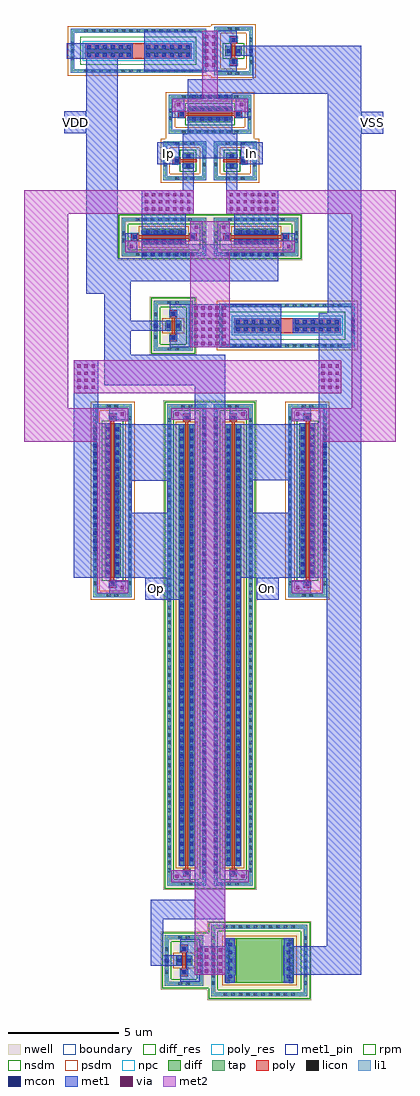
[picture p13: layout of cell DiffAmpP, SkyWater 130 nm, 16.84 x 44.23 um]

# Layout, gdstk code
from math import pi, radians
import gdstk
lib = gdstk.Library(unit=1e-6, precision=1e-09)
def R(c, l, rs):  # rectangles x0, y0, x1, y1
    for r in rs: c.add(gdstk.rectangle(r[:2], r[2:], *l))
def A(c, l, x, y, w, h, nx, ny, dx, dy):  # array of equal rectangles
    R(c, l, [(x+i*dx, y+j*dy, x+i*dx+w, y+j*dy+h) for i in range(nx) for j in range(ny)])
nwell = (64, 20)
diff_res = (65, 13)
diff = (65, 20)
tap = (65, 44)
poly_res = (66, 13)
poly = (66, 20)
licon = (66, 44)
li1 = (67, 20)
mcon = (67, 44)
met1_pin = (68, 16)
met1 = (68, 20)
via = (68, 44)
met2 = (69, 20)
rpm = (86, 20)
nsdm = (93, 44)
psdm = (94, 20)
npc = (95, 20)
boundary = (235, 4)

sky130_fd_pr__res_generi = lib.new_cell('sky130_fd_pr__res_generic_pd_VU5H9V')
R(sky130_fd_pr__res_generi, nwell, [(-1.79,-2.355,1.79,2.355)])
R(sky130_fd_pr__res_generi, diff_res, [(-1,-1.05,1,1.05)])
R(sky130_fd_pr__res_generi, diff, [(-1,-1.565,1,1.565)])
R(sky130_fd_pr__res_generi, tap, [(-1.61,-2.175,1.61,-2.005), (-1.61,-2.005,-1.44,2.005), (1.44,-2.005,1.61,2.005), (-1.61,2.005,1.61,2.175)])
A(sky130_fd_pr__res_generi, licon, -1.105, -2.175, 0.17, 0.17, 7, 2, 0.34, 4.18)
A(sky130_fd_pr__res_generi, licon, -1.61, -1.615, 0.17, 0.17, 1, 10, 0, 0.34)
A(sky130_fd_pr__res_generi, licon, 1.44, -1.615, 0.17, 0.17, 1, 10, 0, 0.34)
A(sky130_fd_pr__res_generi, licon, -0.935, -1.505, 0.17, 0.17, 6, 2, 0.34, 2.84)
R(sky130_fd_pr__res_generi, li1, [(-1.61,-2.175,1.61,-2.005), (-1.61,-2.005,-1.44,2.005), (1.44,-2.005,1.61,2.005), (-1.02,-1.505,1.02,-1.335), (-0.94,-1.335,0.94,-1.135), (-0.94,1.135,0.94,1.335), (-1.02,1.335,1.02,1.505), (-1.61,2.005,1.61,2.175)])
A(sky130_fd_pr__res_generi, mcon, -0.805, -1.405, 0.17, 0.17, 5, 2, 0.36, 2.64)
R(sky130_fd_pr__res_generi, met1, [(-1,-1.535,1,-1.105), (-1,1.105,1,1.535)])
R(sky130_fd_pr__res_generi, nsdm, [(-1.735,-2.3,1.735,-1.88), (-1.735,-1.88,-1.315,1.88), (1.315,-1.88,1.735,1.88), (-1.735,1.88,1.735,2.3)])
R(sky130_fd_pr__res_generi, psdm, [(-1.125,-1.69,1.125,1.69)])
R(sky130_fd_pr__res_generi, boundary, [(-1.525,-2.09,1.525,2.09)])

sky130_fd_pr__pfet_01v8_ = lib.new_cell('sky130_fd_pr__pfet_01v8_SNMNDE')
R(sky130_fd_pr__pfet_01v8_, nwell, [(-1.055,-1.32,1.055,1.32)])
R(sky130_fd_pr__pfet_01v8_, diff, [(-0.365,-0.225,0.365,0.225)])
R(sky130_fd_pr__pfet_01v8_, tap, [(-0.875,-1.14,0.875,-0.97), (-0.875,-0.97,-0.705,0.97), (0.705,-0.97,0.875,0.97), (-0.875,0.97,0.875,1.14)])
R(sky130_fd_pr__pfet_01v8_, poly, [(-0.165,-0.71,0.165,-0.38), (-0.075,-0.38,0.075,0.38), (-0.165,0.38,0.165,0.71)])
A(sky130_fd_pr__pfet_01v8_, licon, -0.875, -0.595, 0.17, 0.17, 1, 4, 0, 0.34)
A(sky130_fd_pr__pfet_01v8_, licon, 0.705, -0.595, 0.17, 0.17, 1, 4, 0, 0.34)
R(sky130_fd_pr__pfet_01v8_, licon, [(-0.255,-1.14,-0.085,-0.97), (0.085,-1.14,0.255,-0.97), (-0.085,-0.63,0.085,-0.46), (-0.305,-0.085,-0.135,0.085), (0.135,-0.085,0.305,0.085), (-0.085,0.46,0.085,0.63), (-0.255,0.97,-0.085,1.14), (0.085,0.97,0.255,1.14)])
R(sky130_fd_pr__pfet_01v8_, li1, [(-0.875,-1.14,0.875,-0.97), (-0.875,-0.97,-0.705,0.97), (0.705,-0.97,0.875,0.97), (-0.165,-0.63,0.165,-0.46), (-0.305,-0.245,-0.135,0.245), (0.135,-0.245,0.305,0.245), (-0.165,0.46,0.165,0.63), (-0.875,0.97,0.875,1.14)])
R(sky130_fd_pr__pfet_01v8_, mcon, [(-0.085,-0.63,0.085,-0.46), (-0.305,-0.085,-0.135,0.085), (0.135,-0.085,0.305,0.085), (-0.085,0.46,0.085,0.63)])
R(sky130_fd_pr__pfet_01v8_, met1, [(-0.145,-0.66,0.145,-0.43), (-0.335,-0.225,-0.105,0.225), (0.105,-0.225,0.335,0.225), (-0.145,0.43,0.145,0.66)])
R(sky130_fd_pr__pfet_01v8_, nsdm, [(-1,-1.265,1,-0.845), (-1,-0.845,-0.58,0.845), (0.58,-0.845,1,0.845), (-1,0.845,1,1.265)])
R(sky130_fd_pr__pfet_01v8_, psdm, [(-0.49,-0.35,0.49,0.35)])
R(sky130_fd_pr__pfet_01v8_, npc, [(-0.185,-0.73,0.185,-0.36), (-0.185,0.36,0.185,0.73)])
R(sky130_fd_pr__pfet_01v8_, boundary, [(-0.79,-1.055,0.79,1.055)])

sky130_fd_pr__nfet_01v8_ = lib.new_cell('sky130_fd_pr__nfet_01v8_PHHW37')
R(sky130_fd_pr__nfet_01v8_, diff, [(-0.365,-3.5,0.365,3.5)])
R(sky130_fd_pr__nfet_01v8_, tap, [(-0.875,-4.37,0.875,-4.2), (-0.875,-4.2,-0.705,4.2), (0.705,-4.2,0.875,4.2), (-0.875,4.2,0.875,4.37)])
R(sky130_fd_pr__nfet_01v8_, poly, [(-0.165,-3.94,0.165,-3.61), (-0.075,-3.61,0.075,3.61), (-0.165,3.61,0.165,3.94)])
A(sky130_fd_pr__nfet_01v8_, licon, -0.875, -3.825, 0.17, 0.17, 1, 23, 0, 0.34)
A(sky130_fd_pr__nfet_01v8_, licon, 0.705, -3.825, 0.17, 0.17, 1, 23, 0, 0.34)
A(sky130_fd_pr__nfet_01v8_, licon, -0.305, -3.315, 0.17, 0.17, 1, 20, 0, 0.34)
A(sky130_fd_pr__nfet_01v8_, licon, 0.135, -3.315, 0.17, 0.17, 1, 20, 0, 0.34)
R(sky130_fd_pr__nfet_01v8_, licon, [(-0.255,-4.37,-0.085,-4.2), (0.085,-4.37,0.255,-4.2), (-0.085,-3.86,0.085,-3.69), (-0.085,3.69,0.085,3.86), (-0.255,4.2,-0.085,4.37), (0.085,4.2,0.255,4.37)])
R(sky130_fd_pr__nfet_01v8_, li1, [(-0.875,-4.37,0.875,-4.2), (-0.875,-4.2,-0.705,4.2), (0.705,-4.2,0.875,4.2), (-0.165,-3.86,0.165,-3.69), (-0.305,-3.52,-0.135,3.52), (0.135,-3.52,0.305,3.52), (-0.165,3.69,0.165,3.86), (-0.875,4.2,0.875,4.37)])
A(sky130_fd_pr__nfet_01v8_, mcon, -0.305, -3.325, 0.17, 0.17, 1, 19, 0, 0.36)
A(sky130_fd_pr__nfet_01v8_, mcon, 0.135, -3.325, 0.17, 0.17, 1, 19, 0, 0.36)
R(sky130_fd_pr__nfet_01v8_, mcon, [(-0.085,-3.86,0.085,-3.69), (-0.085,3.69,0.085,3.86)])
R(sky130_fd_pr__nfet_01v8_, met1, [(-0.145,-3.89,0.145,-3.66), (-0.335,-3.5,-0.105,3.5), (0.105,-3.5,0.335,3.5), (-0.145,3.66,0.145,3.89)])
R(sky130_fd_pr__nfet_01v8_, nsdm, [(-0.49,-3.625,0.49,3.625)])
R(sky130_fd_pr__nfet_01v8_, psdm, [(-1,-4.495,1,-4.075), (-1,-4.075,-0.58,4.075), (0.58,-4.075,1,4.075), (-1,4.075,1,4.495)])
R(sky130_fd_pr__nfet_01v8_, npc, [(-0.185,-3.96,0.185,-3.59), (-0.185,3.59,0.185,3.96)])
R(sky130_fd_pr__nfet_01v8_, boundary, [(-0.79,-4.285,0.79,4.285)])

sky130_fd_pr__res_high_p = lib.new_cell('sky130_fd_pr__res_high_po_0p69_FYNTE5')
R(sky130_fd_pr__res_high_p, tap, [(-0.995,-3.075,0.995,-2.905), (-0.995,-2.905,-0.825,2.905), (0.825,-2.905,0.995,2.905), (-0.995,2.905,0.995,3.075)])
R(sky130_fd_pr__res_high_p, poly_res, [(-0.345,-0.345,0.345,0.345)])
R(sky130_fd_pr__res_high_p, poly, [(-0.345,-2.425,0.345,2.425)])
A(sky130_fd_pr__res_high_p, licon, -0.425, -3.075, 0.17, 0.17, 3, 2, 0.34, 5.98)
A(sky130_fd_pr__res_high_p, licon, -0.995, -2.465, 0.17, 0.17, 1, 15, 0, 0.34)
A(sky130_fd_pr__res_high_p, licon, 0.825, -2.465, 0.17, 0.17, 1, 15, 0, 0.34)
R(sky130_fd_pr__res_high_p, licon, [(-0.095,-2.345,0.095,-0.345), (-0.095,0.345,0.095,2.345)])
R(sky130_fd_pr__res_high_p, li1, [(-0.995,-3.075,0.995,-2.905), (-0.995,-2.905,-0.825,2.905), (0.825,-2.905,0.995,2.905), (-0.345,-2.425,0.345,-0.265), (-0.345,0.265,0.345,2.425), (-0.995,2.905,0.995,3.075)])
A(sky130_fd_pr__res_high_p, mcon, -0.265, -2.33, 0.17, 0.17, 1, 6, 0, 0.36)
A(sky130_fd_pr__res_high_p, mcon, 0.095, -2.33, 0.17, 0.17, 1, 6, 0, 0.36)
A(sky130_fd_pr__res_high_p, mcon, -0.265, 0.355, 0.17, 0.17, 1, 6, 0, 0.36)
A(sky130_fd_pr__res_high_p, mcon, 0.095, 0.355, 0.17, 0.17, 1, 6, 0, 0.36)
R(sky130_fd_pr__res_high_p, met1, [(-0.295,-2.395,0.295,-0.29), (-0.295,0.29,0.295,2.395)])
R(sky130_fd_pr__res_high_p, rpm, [(-0.635,-2.625,0.635,2.625)])
R(sky130_fd_pr__res_high_p, psdm, [(-1.12,-3.2,1.12,3.2)])
R(sky130_fd_pr__res_high_p, npc, [(-0.44,-2.52,0.44,2.52)])
R(sky130_fd_pr__res_high_p, boundary, [(-0.91,-2.99,0.91,2.99)])

c_sky130_fd_pr__nfet_01v8_ = lib.new_cell('sky130_fd_pr__nfet_01v8_4A3DHF')
R(c_sky130_fd_pr__nfet_01v8_, diff, [(-0.365,-0.225,0.365,0.225)])
R(c_sky130_fd_pr__nfet_01v8_, tap, [(-0.875,-1.095,0.875,-0.925), (-0.875,-0.925,-0.705,0.925), (0.705,-0.925,0.875,0.925), (-0.875,0.925,0.875,1.095)])
R(c_sky130_fd_pr__nfet_01v8_, poly, [(-0.165,-0.665,0.165,-0.335), (-0.075,-0.335,0.075,0.335), (-0.165,0.335,0.165,0.665)])
A(c_sky130_fd_pr__nfet_01v8_, licon, -0.875, -0.595, 0.17, 0.17, 1, 4, 0, 0.34)
A(c_sky130_fd_pr__nfet_01v8_, licon, 0.705, -0.595, 0.17, 0.17, 1, 4, 0, 0.34)
R(c_sky130_fd_pr__nfet_01v8_, licon, [(-0.255,-1.095,-0.085,-0.925), (0.085,-1.095,0.255,-0.925), (-0.085,-0.585,0.085,-0.415), (-0.305,-0.085,-0.135,0.085), (0.135,-0.085,0.305,0.085), (-0.085,0.415,0.085,0.585), (-0.255,0.925,-0.085,1.095), (0.085,0.925,0.255,1.095)])
R(c_sky130_fd_pr__nfet_01v8_, li1, [(-0.875,-1.095,0.875,-0.925), (-0.875,-0.925,-0.705,0.925), (0.705,-0.925,0.875,0.925), (-0.165,-0.585,0.165,-0.415), (-0.305,-0.245,-0.135,0.245), (0.135,-0.245,0.305,0.245), (-0.165,0.415,0.165,0.585), (-0.875,0.925,0.875,1.095)])
R(c_sky130_fd_pr__nfet_01v8_, mcon, [(-0.085,-0.585,0.085,-0.415), (-0.305,-0.085,-0.135,0.085), (0.135,-0.085,0.305,0.085), (-0.085,0.415,0.085,0.585)])
R(c_sky130_fd_pr__nfet_01v8_, met1, [(-0.145,-0.615,0.145,-0.385), (-0.335,-0.225,-0.105,0.225), (0.105,-0.225,0.335,0.225), (-0.145,0.385,0.145,0.615)])
R(c_sky130_fd_pr__nfet_01v8_, nsdm, [(-0.49,-0.35,0.49,0.35)])
R(c_sky130_fd_pr__nfet_01v8_, psdm, [(-1,-1.22,1,-0.8), (-1,-0.8,-0.58,0.8), (0.58,-0.8,1,0.8), (-1,0.8,1,1.22)])
R(c_sky130_fd_pr__nfet_01v8_, npc, [(-0.185,-0.685,0.185,-0.315), (-0.185,0.315,0.185,0.685)])
R(c_sky130_fd_pr__nfet_01v8_, boundary, [(-0.79,-1.01,0.79,1.01)])

c_sky130_fd_pr__nfet_01v8__ = lib.new_cell('sky130_fd_pr__nfet_01v8_UH8C49')
R(c_sky130_fd_pr__nfet_01v8__, diff, [(-0.365,-1,0.365,1)])
R(c_sky130_fd_pr__nfet_01v8__, tap, [(-0.875,-1.87,0.875,-1.7), (-0.875,-1.7,-0.705,1.7), (0.705,-1.7,0.875,1.7), (-0.875,1.7,0.875,1.87)])
R(c_sky130_fd_pr__nfet_01v8__, poly, [(-0.165,-1.44,0.165,-1.11), (-0.075,-1.11,0.075,1.11), (-0.165,1.11,0.165,1.44)])
A(c_sky130_fd_pr__nfet_01v8__, licon, -0.875, -1.275, 0.17, 0.17, 1, 8, 0, 0.34)
A(c_sky130_fd_pr__nfet_01v8__, licon, 0.705, -1.275, 0.17, 0.17, 1, 8, 0, 0.34)
A(c_sky130_fd_pr__nfet_01v8__, licon, -0.305, -0.935, 0.17, 0.17, 1, 6, 0, 0.34)
A(c_sky130_fd_pr__nfet_01v8__, licon, 0.135, -0.935, 0.17, 0.17, 1, 6, 0, 0.34)
R(c_sky130_fd_pr__nfet_01v8__, licon, [(-0.255,-1.87,-0.085,-1.7), (0.085,-1.87,0.255,-1.7), (-0.085,-1.36,0.085,-1.19), (-0.085,1.19,0.085,1.36), (-0.255,1.7,-0.085,1.87), (0.085,1.7,0.255,1.87)])
R(c_sky130_fd_pr__nfet_01v8__, li1, [(-0.875,-1.87,0.875,-1.7), (-0.875,-1.7,-0.705,1.7), (0.705,-1.7,0.875,1.7), (-0.165,-1.36,0.165,-1.19), (-0.305,-1.02,-0.135,1.02), (0.135,-1.02,0.305,1.02), (-0.165,1.19,0.165,1.36), (-0.875,1.7,0.875,1.87)])
A(c_sky130_fd_pr__nfet_01v8__, mcon, -0.305, -0.805, 0.17, 0.17, 1, 5, 0, 0.36)
A(c_sky130_fd_pr__nfet_01v8__, mcon, 0.135, -0.805, 0.17, 0.17, 1, 5, 0, 0.36)
R(c_sky130_fd_pr__nfet_01v8__, mcon, [(-0.085,-1.36,0.085,-1.19), (-0.085,1.19,0.085,1.36)])
R(c_sky130_fd_pr__nfet_01v8__, met1, [(-0.145,-1.39,0.145,-1.16), (-0.335,-1,-0.105,1), (0.105,-1,0.335,1), (-0.145,1.16,0.145,1.39)])
R(c_sky130_fd_pr__nfet_01v8__, nsdm, [(-0.49,-1.125,0.49,1.125)])
R(c_sky130_fd_pr__nfet_01v8__, psdm, [(-1,-1.995,1,-1.575), (-1,-1.575,-0.58,1.575), (0.58,-1.575,1,1.575), (-1,1.575,1,1.995)])
R(c_sky130_fd_pr__nfet_01v8__, npc, [(-0.185,-1.46,0.185,-1.09), (-0.185,1.09,0.185,1.46)])
R(c_sky130_fd_pr__nfet_01v8__, boundary, [(-0.79,-1.785,0.79,1.785)])

c_sky130_fd_pr__pfet_01v8_ = lib.new_cell('sky130_fd_pr__pfet_01v8_Q8B58K')
R(c_sky130_fd_pr__pfet_01v8_, nwell, [(-1.055,-2.095,1.055,2.095)])
R(c_sky130_fd_pr__pfet_01v8_, diff, [(-0.365,-1,0.365,1)])
R(c_sky130_fd_pr__pfet_01v8_, tap, [(-0.875,-1.915,0.875,-1.745), (-0.875,-1.745,-0.705,1.745), (0.705,-1.745,0.875,1.745), (-0.875,1.745,0.875,1.915)])
R(c_sky130_fd_pr__pfet_01v8_, poly, [(-0.165,-1.485,0.165,-1.155), (-0.075,-1.155,0.075,1.155), (-0.165,1.155,0.165,1.485)])
A(c_sky130_fd_pr__pfet_01v8_, licon, -0.875, -1.275, 0.17, 0.17, 1, 8, 0, 0.34)
A(c_sky130_fd_pr__pfet_01v8_, licon, 0.705, -1.275, 0.17, 0.17, 1, 8, 0, 0.34)
A(c_sky130_fd_pr__pfet_01v8_, licon, -0.305, -0.935, 0.17, 0.17, 1, 6, 0, 0.34)
A(c_sky130_fd_pr__pfet_01v8_, licon, 0.135, -0.935, 0.17, 0.17, 1, 6, 0, 0.34)
R(c_sky130_fd_pr__pfet_01v8_, licon, [(-0.255,-1.915,-0.085,-1.745), (0.085,-1.915,0.255,-1.745), (-0.085,-1.405,0.085,-1.235), (-0.085,1.235,0.085,1.405), (-0.255,1.745,-0.085,1.915), (0.085,1.745,0.255,1.915)])
R(c_sky130_fd_pr__pfet_01v8_, li1, [(-0.875,-1.915,0.875,-1.745), (-0.875,-1.745,-0.705,1.745), (0.705,-1.745,0.875,1.745), (-0.165,-1.405,0.165,-1.235), (-0.305,-1.02,-0.135,1.02), (0.135,-1.02,0.305,1.02), (-0.165,1.235,0.165,1.405), (-0.875,1.745,0.875,1.915)])
A(c_sky130_fd_pr__pfet_01v8_, mcon, -0.305, -0.805, 0.17, 0.17, 1, 5, 0, 0.36)
A(c_sky130_fd_pr__pfet_01v8_, mcon, 0.135, -0.805, 0.17, 0.17, 1, 5, 0, 0.36)
R(c_sky130_fd_pr__pfet_01v8_, mcon, [(-0.085,-1.405,0.085,-1.235), (-0.085,1.235,0.085,1.405)])
R(c_sky130_fd_pr__pfet_01v8_, met1, [(-0.145,-1.435,0.145,-1.205), (-0.335,-1,-0.105,1), (0.105,-1,0.335,1), (-0.145,1.205,0.145,1.435)])
R(c_sky130_fd_pr__pfet_01v8_, nsdm, [(-1,-2.04,1,-1.62), (-1,-1.62,-0.58,1.62), (0.58,-1.62,1,1.62), (-1,1.62,1,2.04)])
R(c_sky130_fd_pr__pfet_01v8_, psdm, [(-0.49,-1.125,0.49,1.125)])
R(c_sky130_fd_pr__pfet_01v8_, npc, [(-0.185,-1.505,0.185,-1.135), (-0.185,1.135,0.185,1.505)])
R(c_sky130_fd_pr__pfet_01v8_, boundary, [(-0.79,-1.83,0.79,1.83)])

c_sky130_fd_pr__nfet_01v8___ = lib.new_cell('sky130_fd_pr__nfet_01v8_SYFC5S')
R(c_sky130_fd_pr__nfet_01v8___, diff, [(-0.365,-0.405,0.365,0.095)])
R(c_sky130_fd_pr__nfet_01v8___, tap, [(-0.875,-0.965,0.875,-0.795), (-0.875,-0.795,-0.705,0.795), (0.705,-0.795,0.875,0.795), (-0.875,0.795,0.875,0.965)])
R(c_sky130_fd_pr__nfet_01v8___, poly, [(-0.075,-0.535,0.075,0.205), (-0.165,0.205,0.165,0.535)])
A(c_sky130_fd_pr__nfet_01v8___, licon, -0.875, -0.425, 0.17, 0.17, 1, 3, 0, 0.34)
A(c_sky130_fd_pr__nfet_01v8___, licon, 0.705, -0.425, 0.17, 0.17, 1, 3, 0, 0.34)
R(c_sky130_fd_pr__nfet_01v8___, licon, [(-0.255,-0.965,-0.085,-0.795), (0.085,-0.965,0.255,-0.795), (-0.305,-0.24,-0.135,-0.07), (0.135,-0.24,0.305,-0.07), (-0.085,0.285,0.085,0.455), (-0.255,0.795,-0.085,0.965), (0.085,0.795,0.255,0.965)])
R(c_sky130_fd_pr__nfet_01v8___, li1, [(-0.875,-0.965,0.875,-0.795), (-0.875,-0.795,-0.705,0.795), (0.705,-0.795,0.875,0.795), (-0.305,-0.425,-0.135,0.115), (0.135,-0.425,0.305,0.115), (-0.165,0.285,0.165,0.455), (-0.875,0.795,0.875,0.965)])
R(c_sky130_fd_pr__nfet_01v8___, mcon, [(-0.305,-0.24,-0.135,-0.07), (0.135,-0.24,0.305,-0.07), (-0.085,0.285,0.085,0.455)])
R(c_sky130_fd_pr__nfet_01v8___, met1, [(-0.335,-0.405,-0.105,0.095), (0.105,-0.405,0.335,0.095), (-0.145,0.255,0.145,0.485)])
R(c_sky130_fd_pr__nfet_01v8___, nsdm, [(-0.49,-0.53,0.49,0.22)])
R(c_sky130_fd_pr__nfet_01v8___, psdm, [(-1,-1.09,1,-0.67), (-1,-0.67,-0.58,0.67), (0.58,-0.67,1,0.67), (-1,0.67,1,1.09)])
R(c_sky130_fd_pr__nfet_01v8___, npc, [(-0.185,0.185,0.185,0.555)])
R(c_sky130_fd_pr__nfet_01v8___, boundary, [(-0.79,-0.88,0.79,0.88)])

c_sky130_fd_pr__pfet_01v8__ = lib.new_cell('sky130_fd_pr__pfet_01v8_K4JMRH')
R(c_sky130_fd_pr__pfet_01v8__, nwell, [(-1.055,-11.095,1.055,11.095)])
R(c_sky130_fd_pr__pfet_01v8__, diff, [(-0.365,-10,0.365,10)])
R(c_sky130_fd_pr__pfet_01v8__, tap, [(-0.875,-10.915,0.875,-10.745), (-0.875,-10.745,-0.705,10.745), (0.705,-10.745,0.875,10.745), (-0.875,10.745,0.875,10.915)])
R(c_sky130_fd_pr__pfet_01v8__, poly, [(-0.165,-10.485,0.165,-10.155), (-0.075,-10.155,0.075,10.155), (-0.165,10.155,0.165,10.485)])
A(c_sky130_fd_pr__pfet_01v8__, licon, -0.875, -10.285, 0.17, 0.17, 1, 61, 0, 0.34)
A(c_sky130_fd_pr__pfet_01v8__, licon, 0.705, -10.285, 0.17, 0.17, 1, 61, 0, 0.34)
A(c_sky130_fd_pr__pfet_01v8__, licon, -0.305, -9.775, 0.17, 0.17, 1, 58, 0, 0.34)
A(c_sky130_fd_pr__pfet_01v8__, licon, 0.135, -9.775, 0.17, 0.17, 1, 58, 0, 0.34)
R(c_sky130_fd_pr__pfet_01v8__, licon, [(-0.255,-10.915,-0.085,-10.745), (0.085,-10.915,0.255,-10.745), (-0.085,-10.405,0.085,-10.235), (-0.085,10.235,0.085,10.405), (-0.255,10.745,-0.085,10.915), (0.085,10.745,0.255,10.915)])
R(c_sky130_fd_pr__pfet_01v8__, li1, [(-0.875,-10.915,0.875,-10.745), (-0.875,-10.745,-0.705,10.745), (0.705,-10.745,0.875,10.745), (-0.165,-10.405,0.165,-10.235), (-0.305,-10.02,-0.135,10.02), (0.135,-10.02,0.305,10.02), (-0.165,10.235,0.165,10.405), (-0.875,10.745,0.875,10.915)])
A(c_sky130_fd_pr__pfet_01v8__, mcon, -0.305, -9.805, 0.17, 0.17, 1, 55, 0, 0.36)
A(c_sky130_fd_pr__pfet_01v8__, mcon, 0.135, -9.805, 0.17, 0.17, 1, 55, 0, 0.36)
R(c_sky130_fd_pr__pfet_01v8__, mcon, [(-0.085,-10.405,0.085,-10.235), (-0.085,10.235,0.085,10.405)])
R(c_sky130_fd_pr__pfet_01v8__, met1, [(-0.145,-10.435,0.145,-10.205), (-0.335,-10,-0.105,10), (0.105,-10,0.335,10), (-0.145,10.205,0.145,10.435)])
R(c_sky130_fd_pr__pfet_01v8__, nsdm, [(-1,-11.04,1,-10.62), (-1,-10.62,-0.58,10.62), (0.58,-10.62,1,10.62), (-1,10.62,1,11.04)])
R(c_sky130_fd_pr__pfet_01v8__, psdm, [(-0.49,-10.125,0.49,10.125)])
R(c_sky130_fd_pr__pfet_01v8__, npc, [(-0.185,-10.505,0.185,-10.135), (-0.185,10.135,0.185,10.505)])
R(c_sky130_fd_pr__pfet_01v8__, boundary, [(-0.79,-10.83,0.79,10.83)])

diffampp = lib.new_cell('DiffAmpP')
R(diffampp, li1, [(10.71,-28.98,10.88,-28.59), (12.41,-24.89,12.58,-4.08), (12.94,-24.89,13.11,-4.08), (7.47,-10.38,7.64,-4.47), (17.88,-10.38,18.05,-4.47), (19.16,-0.32,19.33,0.31), (10.22,-0.21,10.39,0.19), (9.69,3.14,12.07,3.31), (13.45,3.14,15.83,3.31), (11.79,10.28,13.73,10.45), (14.53,12.25,14.7,12.64)])
A(diffampp, mcon, 12.41, -24.83, 0.17, 0.17, 1, 58, 0, 0.36)
A(diffampp, mcon, 12.94, -24.83, 0.17, 0.17, 1, 58, 0, 0.36)
A(diffampp, mcon, 7.47, -10.21, 0.17, 0.17, 1, 16, 0, 0.36)
A(diffampp, mcon, 17.88, -10.21, 0.17, 0.17, 1, 16, 0, 0.36)
A(diffampp, mcon, 9.715, 3.14, 0.17, 0.17, 7, 1, 0.36, 0)
A(diffampp, mcon, 13.475, 3.14, 0.17, 0.17, 7, 1, 0.36, 0)
A(diffampp, mcon, 11.955, 10.28, 0.17, 0.17, 5, 1, 0.36, 0)
R(diffampp, mcon, [(10.71,-28.87,10.88,-28.7), (19.16,-0.27,19.33,-0.1), (10.22,-0.095,10.39,0.075), (19.16,0.09,19.33,0.26), (14.53,12.36,14.7,12.53)])
R(diffampp, met1_pin, [(9.83,-12.44,10.83,-11.44), (14.87,-12.44,15.87,-11.44), (10.36,7.3,11.36,8.3), (14.16,7.3,15.16,8.3), (19.61,8.69,20.61,9.69), (6.15,8.72,7.15,9.72)])
R(diffampp, met1, [(11.42,-29.75,12.29,-29.43), (11.42,-29.43,13.92,-29.21), (16.07,-29.43,19.61,-28.13), (11.69,-29.21,13.92,-28.35), (10.07,-29.01,11.48,-28.55), (10.07,-28.55,10.63,-26.9), (11.42,-28.35,13.92,-28.13), (11.42,-28.13,12.29,-27.81), (18.05,-28.13,19.61,-11.44), (10.07,-26.9,13.45,-26.02), (12.07,-26.02,13.45,-24.49), (11,-25.23,11.87,-24.69), (13.65,-25.23,14.52,-24.69), (11.81,-24.49,13.71,-4.48), (9.83,-12.44,11.6,-11.44), (14.87,-12.44,15.87,-11.44), (8.2,-12.14,9.05,-11.6), (16.47,-12.14,17.32,-11.6), (6.59,-11.44,8.24,-4.44), (8.51,-11.44,11.6,-10.44), (13.92,-11.44,17.07,-8.49), (17.28,-11.44,19.61,-4.44), (8.45,-10.44,11.6,-8.49), (8.45,-8.49,9.22,-7.03), (10.83,-8.49,11.6,-7.03), (13.92,-8.49,14.69,-7.02), (16.3,-8.49,17.07,-7.02), (8.45,-7.03,11.6,-4.48), (13.92,-7.02,17.07,-4.48), (12.07,-4.48,13.45,-2.7), (6.59,-4.44,7.7,-1.57), (17.7,-4.44,19.61,-0.35), (8.2,-4.28,9.05,-3.74), (11,-4.28,11.87,-3.74), (13.65,-4.28,14.52,-3.74), (16.47,-4.28,17.32,-3.74), (7.96,-2.7,13.45,-1.33), (7.96,-1.33,9.16,-0.24), (10.93,-0.98,15.99,-0.44), (11.2,-0.44,15.99,0.42), (16.52,-0.35,19.61,0.34), (7.96,-0.24,10.99,0.22), (7.96,0.22,9.16,1.45), (17.7,0.34,19.61,0.55), (10.93,0.42,15.99,0.96), (18.1,0.55,19.61,8.69), (7.14,1.45,9.16,2.01), (7.14,2.01,15.86,2.21), (7.15,2.21,15.86,3.04), (7.15,3.04,8.57,8.72), (9.66,3.04,15.86,3.68), (8.92,3.31,9.46,4.18), (16.06,3.31,16.6,4.18), (11.87,3.85,12.41,4.72), (13.11,3.85,13.65,4.72), (9.66,4.12,11.67,5.07), (13.85,4.12,15.86,5.07), (9.66,5.07,12.02,6.14), (13.5,5.07,15.86,6.14), (11.52,6.14,12.02,7.36), (13.5,6.14,14,7.36), (10.36,7.3,11.36,8.3), (14.16,7.3,15.16,8.3), (11.52,7.57,14,8.7), (18.1,8.69,20.61,9.69), (11.76,8.7,13.76,9.47), (6.15,8.72,8.57,9.72), (11.06,9.41,11.6,10.28), (13.92,9.41,14.46,10.28), (11.76,9.68,13.76,10.51), (18.1,9.69,19.61,10.51), (7.15,9.72,8.57,12.1), (11.76,10.51,19.61,11.17), (14.7,11.17,19.61,12.22), (9.78,11.52,13.97,12.06), (9.78,12.06,13.72,12.83), (6.26,12.1,9.25,12.79), (13.93,12.22,19.61,12.67), (9.78,12.83,13.97,13.37)])
A(diffampp, via, 12.205, -29.335, 0.15, 0.15, 4, 4, 0.32, 0.32)
A(diffampp, via, 6.75, -2.875, 0.15, 0.15, 3, 4, 0.32, 0.32)
A(diffampp, via, 17.81, -2.875, 0.15, 0.15, 3, 4, 0.32, 0.32)
A(diffampp, via, 12.045, -0.885, 0.15, 0.15, 5, 6, 0.32, 0.32)
A(diffampp, via, 9.805, 5.21, 0.15, 0.15, 7, 3, 0.32, 0.32)
A(diffampp, via, 13.645, 5.21, 0.15, 0.15, 7, 3, 0.32, 0.32)
A(diffampp, via, 12.535, 11.73, 0.15, 0.15, 1, 5, 0, 0.32)
A(diffampp, via, 12.855, 11.73, 0.15, 0.15, 1, 5, 0, 0.32)
R(diffampp, via, [(11.195,-25.035,11.345,-24.885), (14.175,-25.035,14.325,-24.885), (8.705,-11.945,8.855,-11.795), (16.665,-11.945,16.815,-11.795), (8.705,-4.085,8.855,-3.935), (11.195,-4.085,11.345,-3.935), (14.175,-4.085,14.325,-3.935), (16.665,-4.085,16.815,-3.935), (9.115,3.505,9.265,3.655), (16.255,3.505,16.405,3.655), (12.065,4.375,12.215,4.525), (13.305,4.375,13.455,4.525), (11.255,9.935,11.405,10.085), (14.115,9.935,14.265,10.085)])
R(diffampp, met2, [(12.07,-29.43,13.45,-25.23), (11,-25.23,14.52,-24.69), (12.07,-24.69,13.45,-4.28), (7.64,-12.14,9.05,-11.55), (16.47,-12.14,17.88,-11.55), (7.64,-11.55,8.24,-5.26), (17.28,-11.55,17.88,-5.26), (4.34,-5.26,8.24,-4.33), (17.28,-5.26,21.18,-4.33), (4.34,-4.33,9.05,-3.74), (16.47,-4.33,21.18,-3.74), (11,-4.28,14.52,-3.74), (4.34,-3.74,6.34,5.07), (19.18,-3.74,21.18,5.07), (6.59,-3.07,18.71,-1.57), (11.87,-0.98,13.65,3.31), (8.92,3.31,16.6,3.85), (11.87,3.85,13.65,4.72), (4.34,5.07,12.02,6.14), (13.5,5.07,21.18,6.14), (11.06,9.68,14.46,10.28), (12.42,10.28,13.12,13.37)])
R(diffampp, nsdm, [(12.585,-30.045,12.695,-27.515), (12.705,-25.525,12.815,-3.445), (12.705,3.015,12.815,5.015)])
R(diffampp, psdm, [(12.705,6.465,12.815,8.465), (10.765,8.465,14.755,8.575), (12.715,11.325,12.825,13.565)])
diffampp.add(gdstk.Reference(sky130_fd_pr__res_generi, (14.995,-28.78), rotation=pi/2))
diffampp.add(gdstk.Reference(sky130_fd_pr__pfet_01v8_, (11.585,-28.78)))
diffampp.add(gdstk.Reference(sky130_fd_pr__nfet_01v8_, (8.345,-7.94), rotation=pi))
diffampp.add(gdstk.Reference(sky130_fd_pr__res_high_p, (9.515,12.445), rotation=pi/2))
diffampp.add(gdstk.Reference(c_sky130_fd_pr__nfet_01v8_, (13.825,12.445)))
diffampp.add(gdstk.Reference(c_sky130_fd_pr__nfet_01v8__, (12.76,9.575), rotation=pi/2))
diffampp.add(gdstk.Reference(c_sky130_fd_pr__pfet_01v8_, (10.665,4.015), rotation=pi/2))
diffampp.add(gdstk.Reference(c_sky130_fd_pr__nfet_01v8___, (11.615,7.465), rotation=pi/2))
diffampp.add(gdstk.Reference(sky130_fd_pr__pfet_01v8_, (11.095,-0.01)))
diffampp.add(gdstk.Reference(c_sky130_fd_pr__pfet_01v8_, (14.855,4.015), rotation=pi/2))
diffampp.add(gdstk.Reference(c_sky130_fd_pr__nfet_01v8___, (13.905,7.465), rotation=3*pi/2))
diffampp.add(gdstk.Reference(c_sky130_fd_pr__pfet_01v8__, (13.815,-14.485), rotation=pi))
diffampp.add(gdstk.Reference(c_sky130_fd_pr__pfet_01v8__, (11.705,-14.485), rotation=pi))
diffampp.add(gdstk.Reference(sky130_fd_pr__nfet_01v8_, (17.175,-7.94), rotation=pi))
diffampp.add(gdstk.Reference(sky130_fd_pr__res_high_p, (16.255,-0.005), rotation=pi/2))
diffampp.add(gdstk.Label('VDD', (6.65,9.22), layer=68, texttype=5))
diffampp.add(gdstk.Label('On', (15.37,-11.94), layer=68, texttype=5))
diffampp.add(gdstk.Label('Op', (10.33,-11.94), layer=68, texttype=5))
diffampp.add(gdstk.Label('Ip', (10.86,7.8), layer=68, texttype=5))
diffampp.add(gdstk.Label('In', (14.66,7.8), layer=68, texttype=5))
diffampp.add(gdstk.Label('VSS', (20.11,9.19), layer=68, texttype=5))

lib.write_gds('DiffAmpP.gds')
